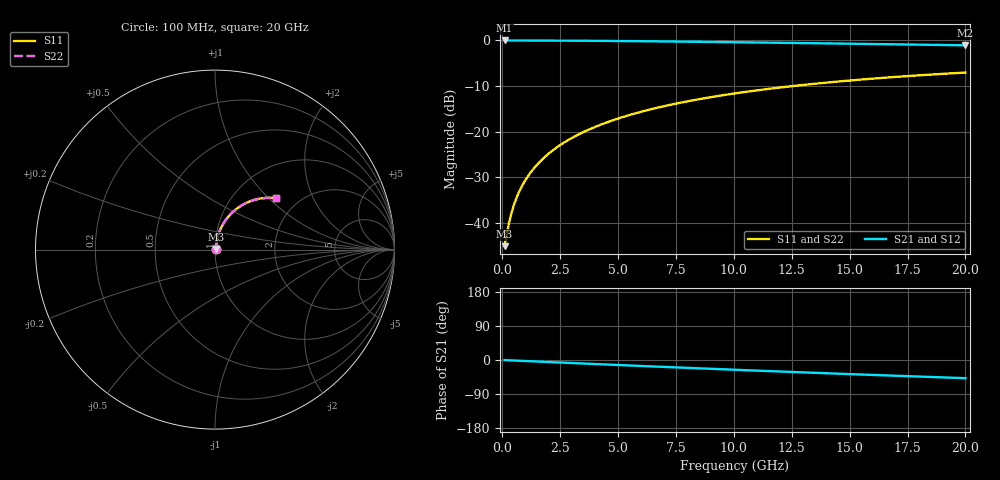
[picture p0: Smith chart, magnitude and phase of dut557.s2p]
! Touchstone file exported from HFSS 2026.1.0
!  File:  C:/ffzhzh/LocalFiles/Ansys_Project_Files/temp_train_TMRDL_557_1783007772_46388.aedt
!  Generated:  11:57:40 PM Jul  2, 2026
!  Design:  TMRDL
!  Project:  temp_train_TMRDL_557_1783007772_46388
! Variables:
!  h_bsmrdl = 2um
!  h_ox = 20um
!  h_rdl = 5um
!  h_sub = 80um
!  h_tmrdl = 4um
!  h_tsv = 80um
!  h_via = 3um
!  l_bsmrdl = 300um
!  l_sub = 1122.18um
!  l_tmrdl = 722.18um
!  m_sub = 200um
!  pitch = 36.87um
!  r_tsv = 6um
!  s_tmrdl = 10um
!  w_bsmrdl = 18um
!  w_sub = 500um
!  w_tmrdl = 13.78um
!  x_tsv_center1 = 729.07um
!  x_tsv_center2 = 1047.07um
!  x_tsv_center3 = 1783.03um
!  x_tsv_center4 = 2101.03um
!  x_tsv_center5 = 2836.99um
!  x_tsv_center6 = 3154.99um
# GHz S MA R 50.000000
! Terminal data exported
! Port[1] = TM_RDL1_1_T1
! Port[2] = TM_RDL1_1_T2
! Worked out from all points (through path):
!   200 points, 100 MHz to 20 GHz, reference 50 ohm
!   highest |S21| = -0.04 dB at 100 MHz (marker M1); lowest = -1.1 dB at 20 GHz (marker M2)
!   group delay of S21, straight-line fit = 6.66 ps
!   lowest |S11| = -45.0 dB at 100 MHz (marker M3), VSWR 1.01, Z = 50.5 + j0.308 ohm
!   |S11| at or under -10 dB: start of sweep to 12.56 GHz
!   |S22| runs from -45.0 to -7.1 dB; largest |S21 - S12| = 4.2e-15
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0.1  0.00561 32.9  0.9953 -0.3  0.9953 -0.3  0.00561 32.9
! Gamma 0 0 0 0
! Port Impedance 50 0 50 0
0.2  0.007765 51.3  0.9952 -0.6  0.9952 -0.6  0.007765 51.3
0.3  0.01034 60.6  0.995 -0.8  0.995 -0.8  0.01034 60.6
0.4  0.01303 65.9  0.9948 -1.1  0.9948 -1.1  0.01303 65.9
0.5  0.01577 69.3  0.9947 -1.4  0.9947 -1.4  0.01577 69.3
0.6  0.01852 71.6  0.9945 -1.6  0.9945 -1.6  0.01852 71.6
0.8  0.02404 74.5  0.9942 -2.2  0.9942 -2.2  0.02405 74.5
1.1  0.03238 76.8  0.9938 -3.0  0.9938 -3.0  0.03238 76.8
1.3  0.03796 77.6  0.9935 -3.5  0.9935 -3.5  0.03796 77.6
1.6  0.04635 78.2  0.993 -4.3  0.993 -4.3  0.04635 78.2
2.1  0.06033 78.4  0.992 -5.6  0.992 -5.6  0.06033 78.4
2.7  0.07703 77.8  0.9904 -7.2  0.9904 -7.2  0.07703 77.8
3.5  0.09907 76.5  0.9879 -9.3  0.9879 -9.3  0.09907 76.5
4.2  0.1181 75.1  0.9852 -11.2  0.9852 -11.2  0.1181 75.0
5  0.1394 73.3  0.9818 -13.2  0.9818 -13.2  0.1394 73.3
5.9  0.1628 71.2  0.9774 -15.5  0.9774 -15.5  0.1628 71.2
6.8  0.1856 69.1  0.9726 -17.8  0.9726 -17.8  0.1856 69.1
8.3  0.2222 65.6  0.9638 -21.5  0.9638 -21.5  0.2222 65.5
10.1  0.2638 61.4  0.9522 -25.9  0.9522 -25.9  0.2638 61.4
13.4  0.3329 54.0  0.929 -33.6  0.929 -33.6  0.3329 53.9
16.7  0.3928 46.9  0.9047 -41.0  0.9047 -41.0  0.3928 46.8
20  0.4435 40.2  0.8809 -48.0  0.8809 -48.0  0.4435 40.1
